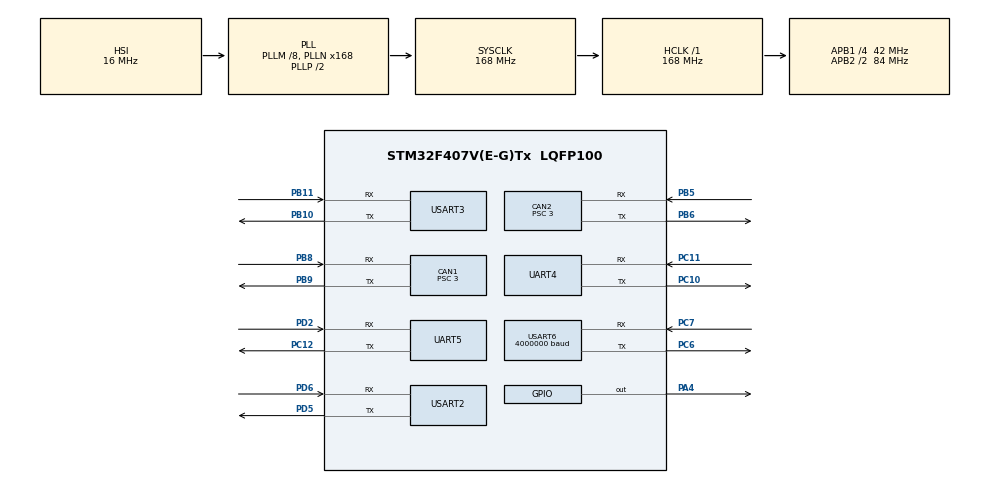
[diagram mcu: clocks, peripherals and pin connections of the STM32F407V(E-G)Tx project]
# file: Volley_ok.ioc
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CAN1.BS1=CAN_BS1_6TQ
CAN1.BS2=CAN_BS2_7TQ
CAN1.CalculateBaudRate=1000000
CAN1.CalculateTimeBit=1000
CAN1.CalculateTimeQuantum=71.42857142857143
CAN1.Prescaler=3
CAN2.BS1=CAN_BS1_6TQ
CAN2.BS2=CAN_BS2_7TQ
CAN2.CalculateBaudRate=1000000
CAN2.CalculateTimeBit=1000
CAN2.CalculateTimeQuantum=71.42857142857143
CAN2.Prescaler=3
Dma.Request0=USART2_RX
Dma.Request1=USART2_TX
Dma.Request2=USART6_RX
Dma.Request3=USART6_TX
Dma.Request4=UART4_RX
Dma.Request5=UART4_TX
Dma.Request6=UART5_RX
Dma.Request7=UART5_TX
Dma.Request8=USART3_RX
Dma.Request9=USART3_TX
Dma.UART4_RX.4.Direction=DMA_PERIPH_TO_MEMORY
Dma.UART4_RX.4.FIFOMode=DMA_FIFOMODE_DISABLE
Dma.UART4_RX.4.Instance=DMA1_Stream2
Dma.UART4_RX.4.MemDataAlignment=DMA_MDATAALIGN_BYTE
Dma.UART4_RX.4.MemInc=DMA_MINC_ENABLE
Dma.UART4_RX.4.Mode=DMA_NORMAL
Dma.UART4_RX.4.PeriphDataAlignment=DMA_PDATAALIGN_BYTE
Dma.UART4_RX.4.PeriphInc=DMA_PINC_DISABLE
Dma.UART4_RX.4.Priority=DMA_PRIORITY_LOW
Dma.UART4_TX.5.Direction=DMA_MEMORY_TO_PERIPH
Dma.UART4_TX.5.FIFOMode=DMA_FIFOMODE_DISABLE
Dma.UART4_TX.5.Instance=DMA1_Stream4
Dma.UART4_TX.5.MemDataAlignment=DMA_MDATAALIGN_BYTE
Dma.UART4_TX.5.MemInc=DMA_MINC_ENABLE
Dma.UART4_TX.5.Mode=DMA_NORMAL
Dma.UART4_TX.5.PeriphDataAlignment=DMA_PDATAALIGN_BYTE
Dma.UART4_TX.5.PeriphInc=DMA_PINC_DISABLE
Dma.UART4_TX.5.Priority=DMA_PRIORITY_LOW
Dma.UART5_RX.6.Direction=DMA_PERIPH_TO_MEMORY
Dma.UART5_RX.6.FIFOMode=DMA_FIFOMODE_DISABLE
Dma.UART5_RX.6.Instance=DMA1_Stream0
Dma.UART5_RX.6.MemDataAlignment=DMA_MDATAALIGN_BYTE
Dma.UART5_RX.6.MemInc=DMA_MINC_ENABLE
Dma.UART5_RX.6.Mode=DMA_NORMAL
Dma.UART5_RX.6.PeriphDataAlignment=DMA_PDATAALIGN_BYTE
Dma.UART5_RX.6.PeriphInc=DMA_PINC_DISABLE
Dma.UART5_RX.6.Priority=DMA_PRIORITY_LOW
Dma.UART5_TX.7.Direction=DMA_MEMORY_TO_PERIPH
Dma.UART5_TX.7.FIFOMode=DMA_FIFOMODE_DISABLE
Dma.UART5_TX.7.Instance=DMA1_Stream7
Dma.UART5_TX.7.MemDataAlignment=DMA_MDATAALIGN_BYTE
Dma.UART5_TX.7.MemInc=DMA_MINC_ENABLE
Dma.UART5_TX.7.Mode=DMA_NORMAL
Dma.UART5_TX.7.PeriphDataAlignment=DMA_PDATAALIGN_BYTE
Dma.UART5_TX.7.PeriphInc=DMA_PINC_DISABLE
Dma.UART5_TX.7.Priority=DMA_PRIORITY_LOW
Dma.USART2_RX.0.Direction=DMA_PERIPH_TO_MEMORY
Dma.USART2_RX.0.FIFOMode=DMA_FIFOMODE_DISABLE
Dma.USART2_RX.0.Instance=DMA1_Stream5
Dma.USART2_RX.0.MemDataAlignment=DMA_MDATAALIGN_BYTE
Dma.USART2_RX.0.MemInc=DMA_MINC_ENABLE
Dma.USART2_RX.0.Mode=DMA_NORMAL
Dma.USART2_RX.0.PeriphDataAlignment=DMA_PDATAALIGN_BYTE
Dma.USART2_RX.0.PeriphInc=DMA_PINC_DISABLE
Dma.USART2_RX.0.Priority=DMA_PRIORITY_LOW
Dma.USART2_TX.1.Direction=DMA_MEMORY_TO_PERIPH
Dma.USART2_TX.1.FIFOMode=DMA_FIFOMODE_DISABLE
Dma.USART2_TX.1.Instance=DMA1_Stream6
Dma.USART2_TX.1.MemDataAlignment=DMA_MDATAALIGN_BYTE
Dma.USART2_TX.1.MemInc=DMA_MINC_ENABLE
Dma.USART2_TX.1.Mode=DMA_NORMAL
Dma.USART2_TX.1.PeriphDataAlignment=DMA_PDATAALIGN_BYTE
Dma.USART2_TX.1.PeriphInc=DMA_PINC_DISABLE
Dma.USART2_TX.1.Priority=DMA_PRIORITY_LOW
Dma.USART3_RX.8.Direction=DMA_PERIPH_TO_MEMORY
Dma.USART3_RX.8.FIFOMode=DMA_FIFOMODE_DISABLE
Dma.USART3_RX.8.Instance=DMA1_Stream1
Dma.USART3_RX.8.MemDataAlignment=DMA_MDATAALIGN_BYTE
Dma.USART3_RX.8.MemInc=DMA_MINC_ENABLE
Dma.USART3_RX.8.Mode=DMA_NORMAL
Dma.USART3_RX.8.PeriphDataAlignment=DMA_PDATAALIGN_BYTE
Dma.USART3_RX.8.PeriphInc=DMA_PINC_DISABLE
Dma.USART3_RX.8.Priority=DMA_PRIORITY_LOW
Dma.USART3_TX.9.Direction=DMA_MEMORY_TO_PERIPH
Dma.USART3_TX.9.FIFOMode=DMA_FIFOMODE_DISABLE
Dma.USART3_TX.9.Instance=DMA1_Stream3
Dma.USART3_TX.9.MemDataAlignment=DMA_MDATAALIGN_BYTE
Dma.USART3_TX.9.MemInc=DMA_MINC_ENABLE
Dma.USART3_TX.9.Mode=DMA_NORMAL
Dma.USART3_TX.9.PeriphDataAlignment=DMA_PDATAALIGN_BYTE
Dma.USART3_TX.9.PeriphInc=DMA_PINC_DISABLE
Dma.USART3_TX.9.Priority=DMA_PRIORITY_LOW
Dma.USART6_RX.2.Direction=DMA_PERIPH_TO_MEMORY
Dma.USART6_RX.2.FIFOMode=DMA_FIFOMODE_DISABLE
Dma.USART6_RX.2.Instance=DMA2_Stream1
Dma.USART6_RX.2.MemDataAlignment=DMA_MDATAALIGN_BYTE
Dma.USART6_RX.2.MemInc=DMA_MINC_ENABLE
Dma.USART6_RX.2.Mode=DMA_NORMAL
Dma.USART6_RX.2.PeriphDataAlignment=DMA_PDATAALIGN_BYTE
Dma.USART6_RX.2.PeriphInc=DMA_PINC_DISABLE
Dma.USART6_RX.2.Priority=DMA_PRIORITY_HIGH
Dma.USART6_TX.3.Direction=DMA_MEMORY_TO_PERIPH
Dma.USART6_TX.3.FIFOMode=DMA_FIFOMODE_DISABLE
Dma.USART6_TX.3.Instance=DMA2_Stream6
Dma.USART6_TX.3.MemDataAlignment=DMA_MDATAALIGN_BYTE
Dma.USART6_TX.3.MemInc=DMA_MINC_ENABLE
Dma.USART6_TX.3.Mode=DMA_NORMAL
Dma.USART6_TX.3.PeriphDataAlignment=DMA_PDATAALIGN_BYTE
Dma.USART6_TX.3.PeriphInc=DMA_PINC_DISABLE
Dma.USART6_TX.3.Priority=DMA_PRIORITY_HIGH
FREERTOS.Tasks01=defaultTask,24,128,StartDefaultTask,Default,NULL,Dynamic,NULL,NULL
Mcu.Family=STM32F4
Mcu.Name=STM32F407V(E-G)Tx
Mcu.Package=LQFP100
NVIC.CAN1_RX0_IRQn=true\:5\:0\:false\:false\:true\:true\:true\:true\:true
NVIC.CAN1_TX_IRQn=true\:5\:0\:false\:false\:true\:true\:true\:true\:true
NVIC.CAN2_RX1_IRQn=true\:5\:0\:false\:false\:true\:true\:true\:true\:true
NVIC.CAN2_TX_IRQn=true\:5\:0\:false\:false\:true\:true\:true\:true\:true
NVIC.DMA1_Stream0_IRQn=true\:5\:0\:false\:false\:true\:true\:false\:true\:true
NVIC.DMA1_Stream1_IRQn=true\:5\:0\:false\:false\:true\:true\:false\:true\:true
NVIC.DMA1_Stream2_IRQn=true\:5\:0\:false\:false\:true\:true\:false\:true\:true
NVIC.DMA1_Stream3_IRQn=true\:5\:0\:false\:false\:true\:true\:false\:true\:true
NVIC.DMA1_Stream4_IRQn=true\:5\:0\:false\:false\:true\:true\:false\:true\:true
NVIC.DMA1_Stream5_IRQn=true\:5\:0\:false\:false\:true\:true\:false\:true\:true
NVIC.DMA1_Stream6_IRQn=true\:5\:0\:false\:false\:true\:true\:false\:true\:true
NVIC.DMA1_Stream7_IRQn=true\:5\:0\:false\:false\:true\:true\:false\:true\:true
NVIC.DMA2_Stream1_IRQn=true\:5\:0\:false\:false\:true\:true\:false\:true\:true
NVIC.DMA2_Stream6_IRQn=true\:5\:0\:false\:false\:true\:true\:false\:true\:true
NVIC.PriorityGroup=NVIC_PRIORITYGROUP_4
NVIC.TIM1_UP_TIM10_IRQn=true\:15\:0\:false\:false\:true\:false\:false\:true\:true
NVIC.TimeBase=TIM1_UP_TIM10_IRQn
NVIC.TimeBaseIP=TIM1
NVIC.UART4_IRQn=true\:5\:0\:false\:false\:true\:true\:false\:true\:true
NVIC.UART5_IRQn=true\:5\:0\:false\:false\:true\:true\:false\:true\:true
NVIC.USART2_IRQn=true\:5\:0\:false\:false\:true\:true\:false\:true\:true
NVIC.USART3_IRQn=true\:5\:0\:false\:false\:true\:true\:false\:true\:true
NVIC.USART6_IRQn=true\:5\:0\:false\:false\:true\:true\:false\:true\:true
PA13.Mode=Serial_Wire
PA13.Signal=SYS_JTMS-SWDIO
PA14.Mode=Serial_Wire
PA14.Signal=SYS_JTCK-SWCLK
PA4.Signal=GPIO_Output
PB10.Mode=Asynchronous
PB10.Signal=USART3_TX
PB11.Mode=Asynchronous
PB11.Signal=USART3_RX
PB5.Mode=CAN_Activate
PB5.Signal=CAN2_RX
PB6.Mode=CAN_Activate
PB6.Signal=CAN2_TX
PB8.Mode=CAN_Activate
PB8.Signal=CAN1_RX
PB9.Mode=CAN_Activate
PB9.Signal=CAN1_TX
PC10.Mode=Asynchronous
PC10.Signal=UART4_TX
PC11.Mode=Asynchronous
PC11.Signal=UART4_RX
PC12.Mode=Asynchronous
PC12.Signal=UART5_TX
PC6.Mode=Asynchronous
PC6.Signal=USART6_TX
PC7.Mode=Asynchronous
PC7.Signal=USART6_RX
PD2.Mode=Asynchronous
PD2.Signal=UART5_RX
PD5.Mode=Asynchronous
PD5.Signal=USART2_TX
PD6.Mode=Asynchronous
PD6.Signal=USART2_RX
PH0-OSC_IN.Mode=HSE-External-Oscillator
PH0-OSC_IN.Signal=RCC_OSC_IN
PH1-OSC_OUT.Mode=HSE-External-Oscillator
PH1-OSC_OUT.Signal=RCC_OSC_OUT
ProjectManager.HeapSize=0x200
ProjectManager.StackSize=0x400
ProjectManager.TargetToolchain=MDK-ARM V5.32
RCC.48MHZClocksFreq_Value=84000000
RCC.AHBFreq_Value=168000000
RCC.APB1CLKDivider=RCC_HCLK_DIV4
RCC.APB1Freq_Value=42000000
RCC.APB1TimFreq_Value=84000000
RCC.APB2CLKDivider=RCC_HCLK_DIV2
RCC.APB2Freq_Value=84000000
RCC.APB2TimFreq_Value=168000000
RCC.CortexFreq_Value=168000000
RCC.HCLKFreq_Value=168000000
RCC.HSE_VALUE=25000000
RCC.HSI_VALUE=16000000
RCC.LSE_VALUE=32768
RCC.PLLM=8
RCC.PLLN=168
RCC.SYSCLKFreq_VALUE=168000000
RCC.SYSCLKSource=RCC_SYSCLKSOURCE_PLLCLK
RCC.VCOOutputFreq_Value=336000000
UART4.VirtualMode=Asynchronous
UART5.VirtualMode=Asynchronous
USART2.VirtualMode=VM_ASYNC
USART3.VirtualMode=VM_ASYNC
USART6.BaudRate=4000000
USART6.VirtualMode=VM_ASYNC
VP_FREERTOS_VS_CMSIS_V2.Mode=CMSIS_V2
VP_SYS_VS_tim1.Mode=TIM1
board=custom

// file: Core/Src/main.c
/* USER CODE BEGIN Header */
/**
  ******************************************************************************
  * @file           : main.c
  * @brief          : Main program body
  ******************************************************************************
  * @attention
  *
  * Copyright (c) 2026 STMicroelectronics.
  * All rights reserved.
  *
  * This software is licensed under terms that can be found in the LICENSE file
  * in the root directory of this software component.
  * If no LICENSE file comes with this software, it is provided AS-IS.
  *
  ******************************************************************************
  */
/* USER CODE END Header */
#include "main.h"
#include "cmsis_os.h"
#include "can.h"
#include "dma.h"
#include "usart.h"
#include "gpio.h"

/* USER CODE BEGIN Includes */
#include "CANDrive.h"
/* USER CODE END Includes */

void SystemClock_Config(void);
void MX_FREERTOS_Init(void);

int main(void)
{

  /* MCU Configuration--------------------------------------------------------*/

  /* Reset of all peripherals, Initializes the Flash interface and the Systick. */
  HAL_Init();

  /* Configure the system clock */
  SystemClock_Config();

  /* Initialize all configured peripherals */
  MX_GPIO_Init();
  MX_DMA_Init();
  MX_CAN1_Init();
  MX_CAN2_Init();
  MX_USART2_UART_Init();
  MX_USART6_UART_Init();
  MX_UART4_Init();
  MX_UART5_Init();
  MX_USART3_UART_Init();
  /* USER CODE BEGIN 2 */
	CanFilter_Init(&hcan2);
	HAL_CAN_Start(&hcan2);
	HAL_CAN_ActivateNotification(&hcan2, CAN_IT_RX_FIFO1_MSG_PENDING);

	CanFilter_Init(&hcan1);
	HAL_CAN_Start(&hcan1);
	HAL_CAN_ActivateNotification(&hcan1, CAN_IT_RX_FIFO0_MSG_PENDING);
  /* USER CODE END 2 */

  /* Init scheduler */
  osKernelInitialize();  /* Call init function for freertos objects (in cmsis_os2.c) */
  MX_FREERTOS_Init();

  /* Start scheduler */
  osKernelStart();

  /* We should never get here as control is now taken by the scheduler */

  /* Infinite loop */
  while (1)
  {

  }
}

void SystemClock_Config(void)
{
  RCC_OscInitTypeDef RCC_OscInitStruct = {0};
  RCC_ClkInitTypeDef RCC_ClkInitStruct = {0};

  /** Configure the main internal regulator output voltage
  */
  __HAL_RCC_PWR_CLK_ENABLE();
  __HAL_PWR_VOLTAGESCALING_CONFIG(PWR_REGULATOR_VOLTAGE_SCALE1);

  /** Initializes the RCC Oscillators according to the specified parameters
  * in the RCC_OscInitTypeDef structure.
  */
  RCC_OscInitStruct.OscillatorType = RCC_OSCILLATORTYPE_HSI;
  RCC_OscInitStruct.HSIState = RCC_HSI_ON;
  RCC_OscInitStruct.HSICalibrationValue = RCC_HSICALIBRATION_DEFAULT;
  RCC_OscInitStruct.PLL.PLLState = RCC_PLL_ON;
  RCC_OscInitStruct.PLL.PLLSource = RCC_PLLSOURCE_HSI;
  RCC_OscInitStruct.PLL.PLLM = 8;
  RCC_OscInitStruct.PLL.PLLN = 168;
  RCC_OscInitStruct.PLL.PLLP = RCC_PLLP_DIV2;
  RCC_OscInitStruct.PLL.PLLQ = 4;
  if (HAL_RCC_OscConfig(&RCC_OscInitStruct) != HAL_OK)
  {
    Error_Handler();
  }

  /** Initializes the CPU, AHB and APB buses clocks
  */
  RCC_ClkInitStruct.ClockType = RCC_CLOCKTYPE_HCLK|RCC_CLOCKTYPE_SYSCLK
                              |RCC_CLOCKTYPE_PCLK1|RCC_CLOCKTYPE_PCLK2;
  RCC_ClkInitStruct.SYSCLKSource = RCC_SYSCLKSOURCE_PLLCLK;
  RCC_ClkInitStruct.AHBCLKDivider = RCC_SYSCLK_DIV1;
  RCC_ClkInitStruct.APB1CLKDivider = RCC_HCLK_DIV4;
  RCC_ClkInitStruct.APB2CLKDivider = RCC_HCLK_DIV2;

  if (HAL_RCC_ClockConfig(&RCC_ClkInitStruct, FLASH_LATENCY_5) != HAL_OK)
  {
    Error_Handler();
  }
}

void HAL_TIM_PeriodElapsedCallback(TIM_HandleTypeDef *htim)
{
  if (htim->Instance == TIM1)
  {
    HAL_IncTick();
  }
}

void Error_Handler(void)
{
  __disable_irq();
  while (1)
  {
  }
}

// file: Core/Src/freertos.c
/* USER CODE BEGIN Header */
/**
  ******************************************************************************
  * File Name          : freertos.c
  * Description        : Code for freertos applications
  ******************************************************************************
  * @attention
  *
  * Copyright (c) 2026 STMicroelectronics.
  * All rights reserved.
  *
  * This software is licensed under terms that can be found in the LICENSE file
  * in the root directory of this software component.
  * If no LICENSE file comes with this software, it is provided AS-IS.
  *
  ******************************************************************************
  */
/* USER CODE END Header */

#include "FreeRTOS.h"
#include "task.h"
#include "main.h"
#include "cmsis_os.h"

/* USER CODE BEGIN Includes */
#include "Task_Init.h"
#include "semphr.h"
/* USER CODE END Includes */

/* USER CODE BEGIN PD */
extern UART_HandleTypeDef huart6;
extern RS485_t rs485bus;
SemaphoreHandle_t remote_semaphore;
/* USER CODE END PD */

/* Definitions for defaultTask */
osThreadId_t defaultTaskHandle;
const osThreadAttr_t defaultTask_attributes = {
  .name = "defaultTask",
  .stack_size = 128 * 4,
  .priority = (osPriority_t) osPriorityNormal,
};

void StartDefaultTask(void *argument);

void MX_FREERTOS_Init(void); /* (MISRA C 2004 rule 8.1) */

void MX_FREERTOS_Init(void) {

  /* USER CODE BEGIN RTOS_QUEUES */
  /* add queues, ... */
	  remote_semaphore=xSemaphoreCreateBinary();
  /* USER CODE END RTOS_QUEUES */

  /* Create the thread(s) */
  /* creation of defaultTask */
  defaultTaskHandle = osThreadNew(StartDefaultTask, NULL, &defaultTask_attributes);

  /* USER CODE BEGIN RTOS_THREADS */

	  RS485Init(&rs485bus, &huart6, GPIOA, GPIO_PIN_4);// 初始化485总线管理器
  /* add threads, ... */
  /* USER CODE END RTOS_THREADS */

}

void StartDefaultTask(void *argument)
{
  /* USER CODE BEGIN StartDefaultTask */
	Task_Init();
	vTaskDelete(NULL);
  /* Infinite loop */
  for(;;)
  {
    osDelay(1);
  }
  /* USER CODE END StartDefaultTask */
}
